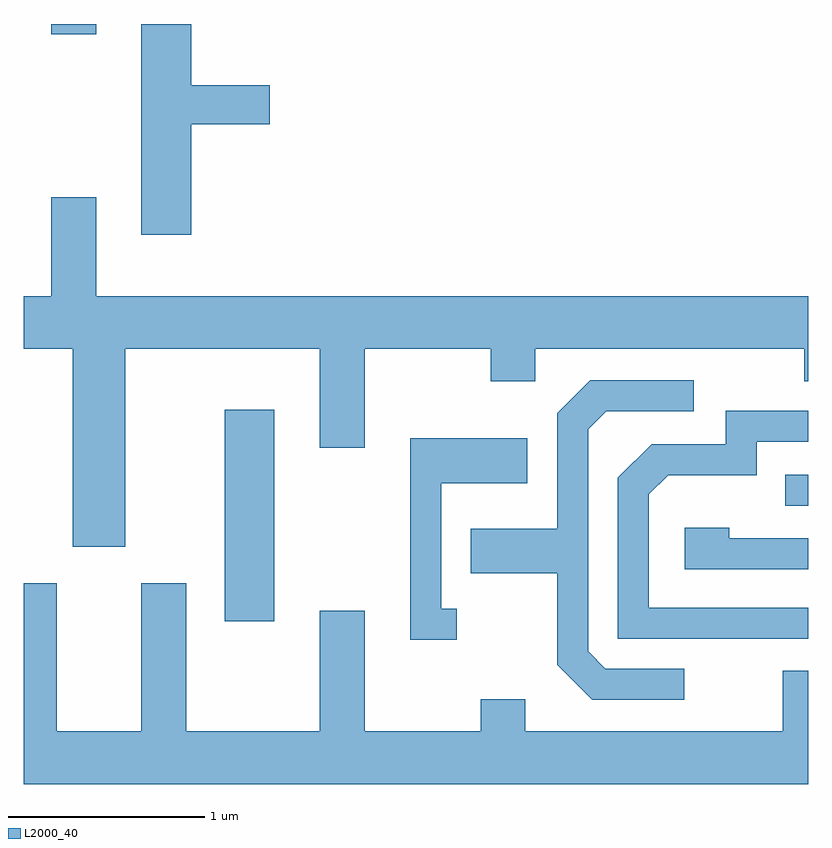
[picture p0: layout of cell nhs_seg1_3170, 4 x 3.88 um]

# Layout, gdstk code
import gdstk
lib = gdstk.Library(unit=1e-6, precision=1e-09)
def R(c, l, rs):  # rectangles x0, y0, x1, y1
    for r in rs: c.add(gdstk.rectangle(r[:2], r[2:], *l))
def P(c, l, *ps):  # polygons
    for p in ps: c.add(gdstk.Polygon(p, *l))
L2000_40 = (2000, 40)

nhs_seg1_3170 = lib.new_cell('nhs_seg1_3170')
R(nhs_seg1_3170, L2000_40, [(282.636,862.666,282.889,863.744), (285.493,863.256,285.611,863.414), (281.751,865.661,281.979,865.712)])
P(nhs_seg1_3170, L2000_40, [(282.464,865.201),(282.864,865.201),(282.864,865.399),(282.464,865.399),(282.464,865.712),(282.211,865.712),(282.211,864.636),(282.464,864.636)],
  [(282.129,864.056),(283.121,864.056),(283.121,863.551),(283.349,863.551),(283.349,864.056),(283.991,864.056),(283.991,863.891),(284.219,863.891),(284.219,864.056),(285.591,864.056),(285.591,863.891),(285.611,863.891),(285.611,864.324),(281.979,864.324),(281.979,864.829),(281.751,864.829),(281.751,864.324),(281.611,864.324),(281.611,864.056),(281.861,864.056),(281.861,863.046),(282.129,863.046)],
  [(284.978,862.424),(284.577,862.424),(284.489,862.512),(284.489,863.644),(284.582,863.736),(285.028,863.736),(285.028,863.894),(284.499,863.894),(284.331,863.727),(284.331,863.139),(283.891,863.139),(283.891,862.911),(284.331,862.911),(284.331,862.444),(284.509,862.266),(284.978,862.266)],
  [(285.611,862.734),(284.799,862.734),(284.799,863.314),(284.897,863.411),(285.349,863.411),(285.349,863.581),(285.611,863.581),(285.611,863.739),(285.191,863.739),(285.191,863.569),(284.814,863.569),(284.641,863.397),(284.641,862.576),(285.611,862.576)],
  [(283.818,862.729),(283.739,862.729),(283.739,863.371),(284.179,863.371),(284.179,863.599),(283.581,863.599),(283.581,862.571),(283.818,862.571)],
  [(285.611,863.089),(285.209,863.089),(285.209,863.144),(284.981,863.144),(284.981,862.931),(285.611,862.931)],
  [(285.611,862.414),(285.481,862.414),(285.481,862.104),(284.169,862.104),(284.169,862.269),(283.941,862.269),(283.941,862.104),(283.349,862.104),(283.349,862.719),(283.121,862.719),(283.121,862.104),(282.439,862.104),(282.439,862.859),(282.211,862.859),(282.211,862.104),(281.779,862.104),(281.779,862.859),(281.611,862.859),(281.611,861.836),(285.611,861.836)])

lib.write_gds('nhs_seg1_3170.gds')
